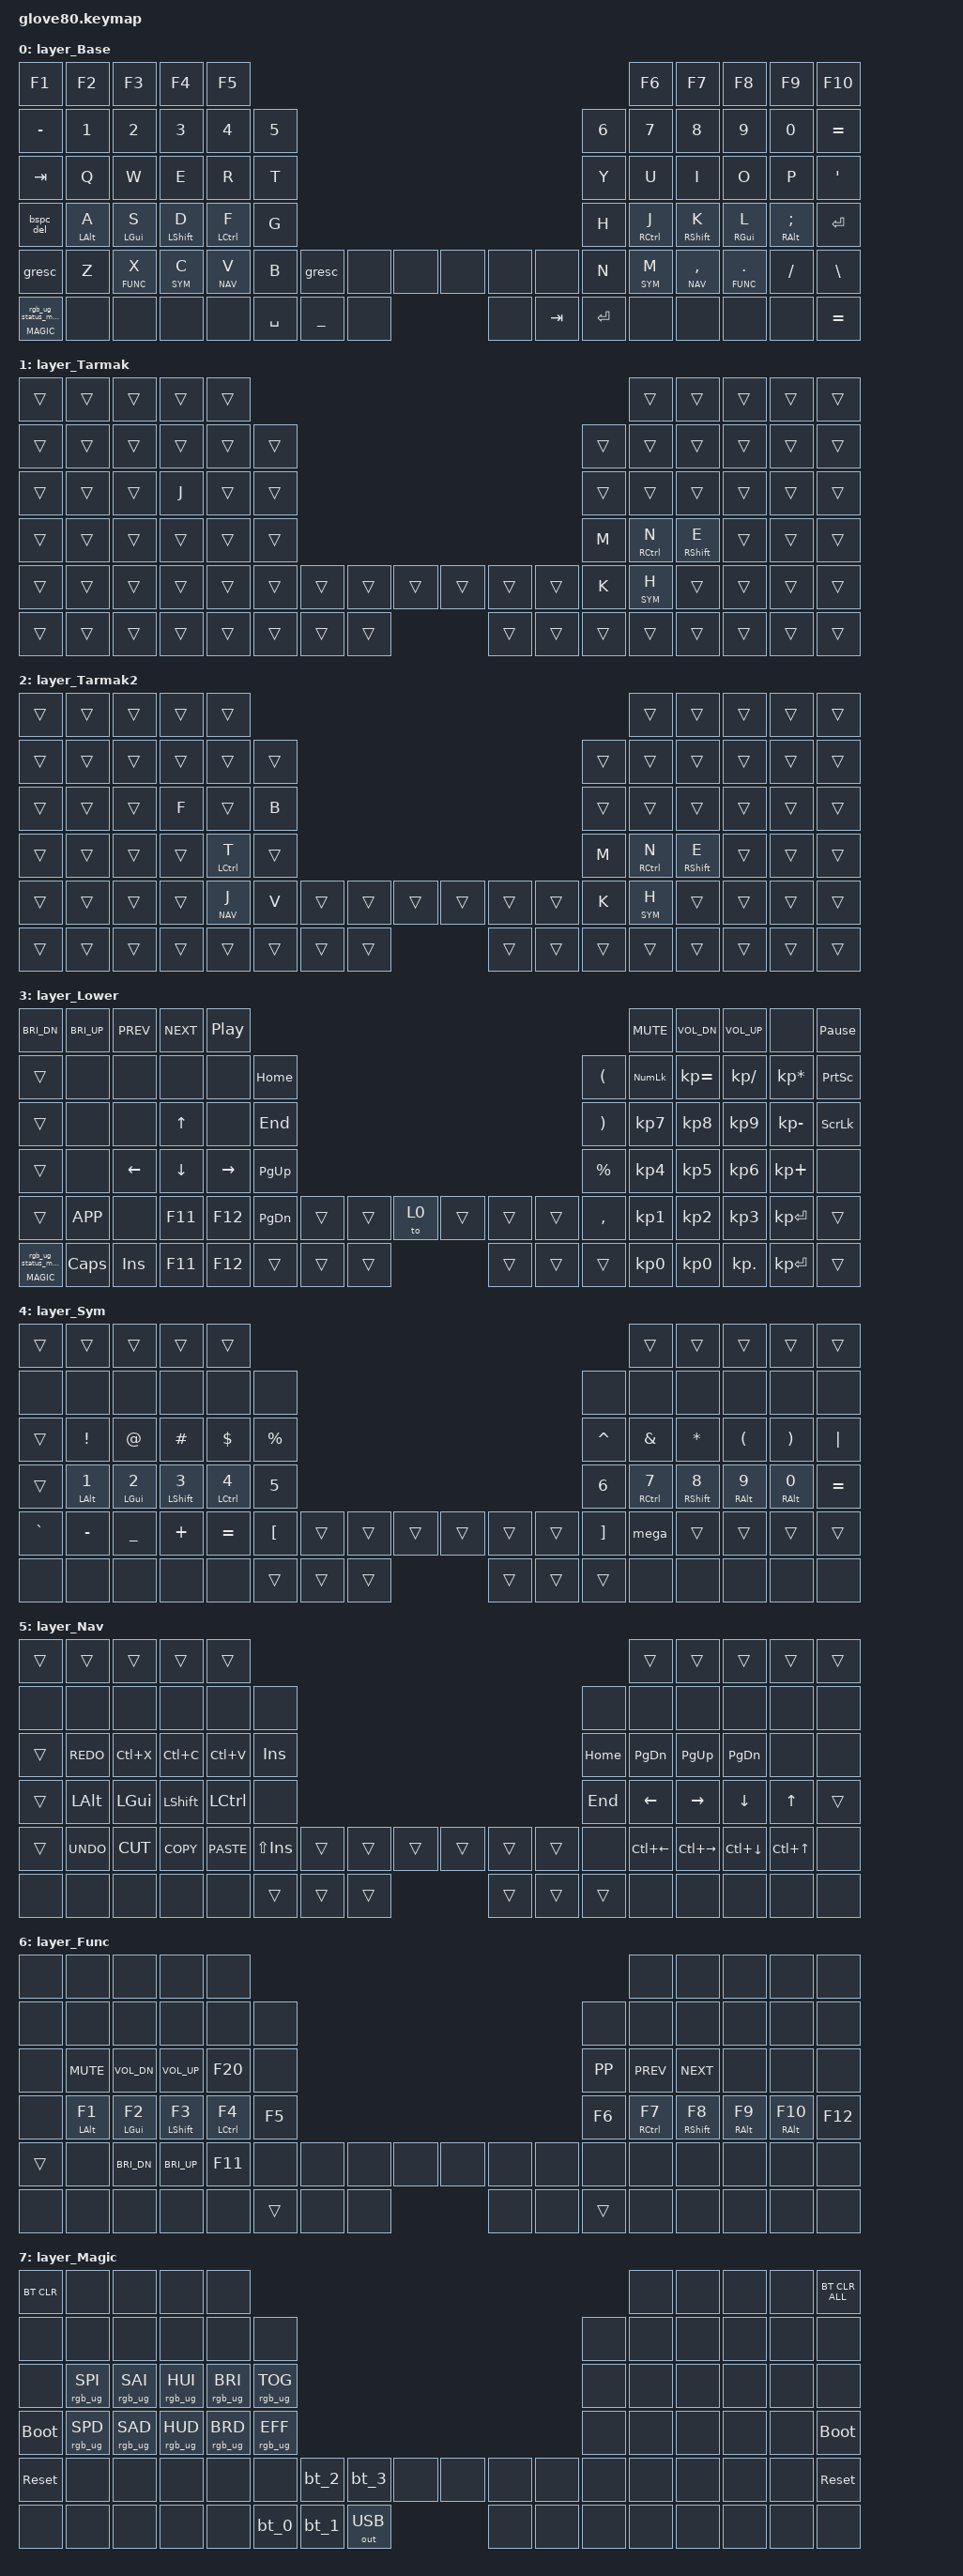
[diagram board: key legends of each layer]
/*
 * Copyright (c) 2020 The ZMK Contributors
 * Copyright (c) 2022 Innaworks Development Limited, trading as MoErgo
 *
 * SPDX-License-Identifier: MIT
 */


/* THIS FILE WAS GENERATED BY GLOVE80 LAYOUT EDITOR
 *
 * This file was generated automatically. You may or may not want to
 * edit it directly.
 */

#include <behaviors.dtsi>
/* Include all behaviour includes needed by system behaviors/macros */
#include <dt-bindings/zmk/outputs.h>

/* Include behaviour includes needed by key binds - automatically generated */
#include <dt-bindings/zmk/keys.h>
#include <dt-bindings/zmk/bt.h>
#include <dt-bindings/zmk/rgb.h>
#include <dt-bindings/zmk/outputs.h>
#include <dt-bindings/zmk/mouse.h>

#define KEYS_L 0 1 2 3 4  10 11 12 13 14 15  22 23 24 25 26 27  34 35 36 37 38 39  \
                          46 47 48 49 50 51  64 65 66 67 68
#define KEYS_R 5 6 7 8 9  16 17 18 19 20 21  28 29 30 31 32 33  40 41 42 43 44 45  \
                          58 59 60 61 62 63  75 76 77 78 79
#define THUMBS 52 53 54  55 56 57   69 70 71  72 73 74

#define QWERTY  0
#define TARMAK  1
#define TARMAK2 2
#define LOWER   3
#define SYM     4
#define NAV     5
#define FUNC    6
#define MAGIC   7

#define ALPHAS QWERTY TARMAK TARMAK2

&gresc {
    keep-mods = <(MOD_LSFT|MOD_RSFT)>;
};

/ {
    /*gresc: grave_escape {
        keep-mods = <(MOD_LSFT|MOD_RSFT)>;
    };*/

    /* Glove80 system behavior & macros */
    behaviors {
        // For the "layer" key, it'd nice to be able to use it as either a shift or a toggle.
        // Configure it as a tap dance, so the first tap (or hold) is a &mo and the second tap is a &to
        lower: tap_dance_0 {
            compatible = "zmk,behavior-tap-dance";
            label = "LAYER_TAP_DANCE";
            #binding-cells = <0>;
            tapping-term-ms = <200>;
            bindings = <&mo LOWER>, <&to LOWER>;
        };

	hml: homerow_mod_left {
	     compatible = "zmk,behavior-hold-tap";
	     label = "HRM_LEFT";
	     flavor = "balanced";
	     tapping-term-ms = <280>;
	     quick-tap-ms = <175>;
	     global-quick-tap;
	     #binding-cells = <2>;
	     bindings = <&kp>, <&kp>;
	     hold-trigger-key-positions = <KEYS_R THUMBS>;
	     hold-trigger-on-release;
	};

	hmr: homerow_mod_right {
	     compatible = "zmk,behavior-hold-tap";
	     label = "HRM_RIGHT";
	     flavor = "balanced";
	     tapping-term-ms = <280>;
	     quick-tap-ms = <175>;
	     global-quick-tap;
	     #binding-cells = <2>;
	     bindings = <&kp>, <&kp>;
	     hold-trigger-key-positions = <KEYS_L THUMBS>;
	     hold-trigger-on-release;
	};

	just_left: left_no_mods {
	      compatible = "zmk,behavior-mod-morph";
	      label = "JUST_LEFT";
	      #binding-cells = <0>;
	      bindings = <&kp LEFT>, <&kp LEFT>;
	      mods = <(MOD_LSFT|MOD_RSFT|MOD_LCTL|MOD_RCTL|MOD_LALT|MOD_RALT|MOD_LGUI|MOD_RGUI)>;
	      keep-mods = <0>;
	};
	mega: mega_pairs {
 	      compatible = "zmk,behavior-mod-morph";
	      label = "MEGA_PAIRS";
	      #binding-cells = <0>;
	      bindings = <&mega_abrq>, <&parens>;
	      mods = <(MOD_LALT|MOD_RALT)>;
	};
	mega_abrq: mega_abrq {
 	      compatible = "zmk,behavior-mod-morph";
	      label = "MEGA_ABRQ";
	      #binding-cells = <0>;
	      bindings = <&mega_brq>, <&abrackets>;
	      mods = <(MOD_LGUI|MOD_RGUI)>;
	};
	mega_brq: mega_brq {
 	      compatible = "zmk,behavior-mod-morph";
	      label = "MEGA_BRQ";
	      #binding-cells = <0>;
	      bindings = <&braces>, <&mega_quotes>;
	      mods = <(MOD_LCTL|MOD_RCTL)>;
	};
	mega_quotes: mega_quotes {
		 compatible = "zmk,behavior-mod-morph";
		 label = "MEGA_QUOTES";
		 #binding-cells = <0>;
		 bindings = <&dquotes>, <&squotes>;
		 mods = <(MOD_LSFT|MOD_RSFT)>;
	};
    };

    combos {
    	   compatible = "zmk,combos";
	   combo_capsword {
	   		  timeout-ms = <50>;
          		  key-positions = <25 37>;
           		  bindings = <&caps_word>;
			  layers = <ALPHAS>;
           };
	   combo_capsword2 {
	   		   timeout-ms = <50>;
          		   key-positions = <30 42>;
           		   bindings = <&caps_word>;
			   layers = <ALPHAS>;
           };
	   combo_home {
	   	      timeout-ms = <50>;
          	      key-positions = <38 39>;
           	      bindings = <&kp HOME>;
           };
	   combo_end {
	   	     timeout-ms = <50>;
          	     key-positions = <40 41>;
           	     bindings = <&kp END>;
           };
	   combo_mega {
	   		  timeout-ms = <50>;
          		  key-positions = <58 59>;
           		  bindings = <&mega>;
			  layers = <ALPHAS>;
           };
    };

    macros {
        rgb_ug_status_macro: rgb_ug_status_macro_0 {
            label = "RGB_UG_STATUS";
            compatible = "zmk,behavior-macro";
            #binding-cells = <0>;
            bindings
                = <&rgb_ug RGB_STATUS>;
        };

        bt_0: bt_profile_macro_0 {
            label = "BT_0";
            compatible = "zmk,behavior-macro";
            #binding-cells = <0>;
            bindings
                = <&out OUT_BLE>,
                  <&bt BT_SEL 0>;
        };

        bt_1: bt_profile_macro_1 {
            label = "BT_1";
            compatible = "zmk,behavior-macro";
            #binding-cells = <0>;
            bindings
                = <&out OUT_BLE>,
                  <&bt BT_SEL 1>;
        };

        bt_2: bt_profile_macro_2 {
            label = "BT_2";
            compatible = "zmk,behavior-macro";
            #binding-cells = <0>;
            bindings
                = <&out OUT_BLE>,
                  <&bt BT_SEL 2>;
        };

        bt_3: bt_profile_macro_3 {
            label = "BT_3";
            compatible = "zmk,behavior-macro";
            #binding-cells = <0>;
            bindings
                = <&out OUT_BLE>,
                  <&bt BT_SEL 3>;
        };

     	mb1:mouse_button1 {
	    label = "MB1";
	    compatible = "zmk,behavior-macro";
	    #binding-cells = <0>;
	    bindings = <&macro_press &kp F21>, <&macro_pause_for_release>, <&macro_release &kp F21>;
	};
	mb2:mouse_button2 {
	    label = "MB2";
	    compatible = "zmk,behavior-macro";
	    #binding-cells = <0>;
	    bindings = <&macro_press &kp F22>, <&macro_pause_for_release>, <&macro_release &kp F22>;
	};
	mb3:mouse_button3 {
            label = "MB3";
	    compatible = "zmk,behavior-macro";
	    #binding-cells = <0>;
	    bindings = <&macro_press &kp F23>, <&macro_pause_for_release>, <&macro_release &kp F23>;
	};

	pair: pair {
	      label = "PAIR";
	      compatible = "zmk,behavior-macro-two-param";
              #binding-cells = <2>; // Must be 2
	      bindings = <&macro_param_1to1>, <&kp MACRO_PLACEHOLDER>, <&macro_param_2to1>, <&kp MACRO_PLACEHOLDER>, <&just_left>;
	};

	braces: braces {
		label = "BRACES";
		compatible = "zmk,behavior-macro";
		#binding-cells = <0>;
		bindings = <&pair LBKT RBKT>;
	};
	squotes: single_quotes {
		 label = "SQUOTES";
		 compatible = "zmk,behavior-macro";
		 #binding-cells = <0>;
		 bindings = <&pair SQT SQT>;
	};
	dquotes: double_quotes {
		 label = "DQUOTES";
		 compatible = "zmk,behavior-macro";
		 #binding-cells = <0>;
		 bindings = <&pair DQT DQT>;
	};
	abrackets: angle_brackets {
		   label = "ABRACKETS";
		   compatible = "zmk,behavior-macro";
		   #binding-cells = <0>;
		   bindings = <&pair LT GT>;
	};
	parens: parens {
		label = "PARENS";
		compatible = "zmk,behavior-macro";
		#binding-cells = <0>;
		bindings = <&pair LPAR RPAR>;
	};
    };

    magic: magic_hold_tap {
        compatible = "zmk,behavior-hold-tap";
        label = "MAGIC_HOLD_TAP";
        #binding-cells = <2>;
        flavor = "tap-preferred";
        tapping-term-ms = <200>;
        bindings = <&mo>, <&rgb_ug_status_macro>;
    };

    bspc_del: backspace_delete {
            compatible = "zmk,behavior-mod-morph";
            label = "BACKSPACE_DELETE";
            #binding-cells = <0>;
            bindings = <&kp BACKSPACE>, <&kp DELETE>;
            mods = <(MOD_LGUI|MOD_RGUI)>;
        };

    /* Automatically generated keymap */
    keymap {
        compatible = "zmk,keymap";


        layer_Base {
            bindings = <
     &kp F1      &kp F2      &kp F3       &kp F4       &kp F5                                                                                       &kp F6       &kp F7      &kp F8         &kp F9    &kp F10
  &kp MINUS      &kp N1      &kp N2       &kp N3       &kp N4  &kp N5                                                                  &kp N6       &kp N7       &kp N8      &kp N9         &kp N0  &kp EQUAL
    &kp TAB       &kp Q       &kp W        &kp E        &kp R   &kp T                                                                   &kp Y        &kp U        &kp I       &kp O          &kp P    &kp SQT
  &bspc_del &hml LALT A &hml LGUI S &hml LSHFT D &hml LCTRL F   &kp G                                                                   &kp H &hmr RCTRL J &hmr RSHFT K &hmr RGUI L &hmr RALT SEMI    &kp RET
     &gresc       &kp Z  &lt FUNC X    &lt SYM C    &lt NAV V   &kp B    &gresc      &none   &none      &none       &none       &none   &kp N   &lt SYM M &lt NAV COMMA &lt FUNC DOT      &kp FSLH   &kp BSLH
&magic MAGIC 0    &none       &none        &none        &none         &kp SPACE  &kp UNDER   &none      &none     &kp TAB     &kp RET               &none         &none        &none         &none  &kp EQUAL
            >;
        };

        layer_Tarmak {
            bindings = <
     &trans      &trans      &trans      &trans      &trans                                                                                        &trans      &trans      &trans      &trans      &trans
     &trans      &trans      &trans      &trans      &trans      &trans                                                                &trans      &trans      &trans      &trans      &trans      &trans
     &trans      &trans      &trans       &kp J      &trans      &trans                                                                &trans      &trans      &trans      &trans      &trans      &trans
     &trans      &trans      &trans      &trans      &trans      &trans                                                                 &kp M &hmr RCTRL N &hmr RSHFT E    &trans      &trans      &trans
     &trans      &trans      &trans      &trans      &trans      &trans   &trans    &trans    &trans    &trans    &trans    &trans      &kp K   &lt SYM H      &trans      &trans      &trans      &trans
     &trans      &trans      &trans      &trans      &trans               &trans    &trans    &trans    &trans    &trans    &trans                 &trans      &trans      &trans      &trans      &trans
	    >;
        };

        layer_Tarmak2 {
            bindings = <
     &trans      &trans      &trans      &trans      &trans                                                                                        &trans      &trans      &trans      &trans      &trans
     &trans      &trans      &trans      &trans      &trans      &trans                                                                &trans      &trans      &trans      &trans      &trans      &trans
     &trans      &trans      &trans       &kp F      &trans       &kp B                                                                &trans      &trans      &trans      &trans      &trans      &trans
     &trans      &trans      &trans      &trans &hml LCTRL T     &trans                                                                 &kp M &hmr RCTRL N &hmr RSHFT E    &trans      &trans      &trans
     &trans      &trans      &trans      &trans   &lt NAV J       &kp V   &trans    &trans    &trans    &trans    &trans    &trans      &kp K   &lt SYM H      &trans      &trans      &trans      &trans
     &trans      &trans      &trans      &trans      &trans               &trans    &trans    &trans    &trans    &trans    &trans                 &trans      &trans      &trans      &trans      &trans
	    >;
        };

        layer_Lower {
            bindings = <
 &kp C_BRI_DN  &kp C_BRI_UP      &kp C_PREV      &kp C_NEXT         &kp C_PP                                                                                    &kp C_MUTE  &kp C_VOL_DN  &kp C_VOL_UP            &none  &kp PAUSE_BREAK
       &trans         &none           &none           &none            &none   &kp HOME                                                   &kp LEFT_PARENTHESIS  &kp KP_NUM  &kp KP_EQUAL  &kp KP_SLASH  &kp KP_MULTIPLY  &kp PRINTSCREEN
       &trans         &none           &none    &kp UP_ARROW            &none    &kp END                                                  &kp RIGHT_PARENTHESIS   &kp KP_N7     &kp KP_N8     &kp KP_N9     &kp KP_MINUS   &kp SCROLLLOCK
       &trans         &none  &kp LEFT_ARROW  &kp DOWN_ARROW  &kp RIGHT_ARROW  &kp PG_UP                                                            &kp PERCENT   &kp KP_N4     &kp KP_N5     &kp KP_N6      &kp KP_PLUS            &none
       &trans     &kp K_APP           &none         &kp F11          &kp F12  &kp PG_DN  &trans  &trans   &to 0  &trans  &trans  &trans              &kp COMMA   &kp KP_N1     &kp KP_N2     &kp KP_N3     &kp KP_ENTER           &trans
   &magic MAGIC 0      &kp CAPS         &kp INS         &kp F11          &kp F12             &trans  &trans  &trans  &trans  &trans  &trans                          &kp KP_N0     &kp KP_N0    &kp KP_DOT     &kp KP_ENTER           &trans
            >;
        };

	layer_Sym {
	    bindings = <
	  &trans         &trans         &trans         &trans         &trans                                                                              &trans         &trans       &trans    &trans      &trans
       &none          &none          &none          &none          &none        &none                                                   &none          &none          &none        &none     &none       &none
      &trans       &kp EXCL         &kp AT       &kp HASH       &kp DLLR    &kp PRCNT                                               &kp CARET       &kp AMPS       &kp STAR     &kp LPAR  &kp RPAR    &kp PIPE
      &trans     &hml LALT N1 &hml LGUI N2  &hml LSHFT N3  &hml LCTRL N4       &kp N5                                                  &kp N6  &hmr RCTRL N7  &hmr RSHFT N8 &hmr RALT N9 &hmr RALT N0 &kp EQUAL
   &kp GRAVE      &kp MINUS      &kp UNDER       &kp PLUS      &kp EQUAL     &kp LBKT   &trans  &trans  &trans  &trans  &trans  &trans &kp RBKT        &mega         &trans       &trans    &trans      &trans
       &none          &none          &none          &none          &none                &trans  &trans  &trans  &trans  &trans  &trans                 &none          &none        &none     &none       &none
       >;
};

    layer_Nav {
	    bindings = <
      &trans         &trans         &trans         &trans         &trans                                                                           &trans    &trans    &trans  &trans        &trans
       &none          &none          &none          &none          &none            &none                                              &none        &none     &none     &none   &none         &none
      &trans     &kp K_REDO      &kp LC(X)      &kp LC(C)      &kp LC(V)          &kp INS                                           &kp HOME    &kp PG_DN &kp PG_UP &kp PG_DN   &none         &none
      &trans       &kp LALT       &kp LGUI      &kp LSHFT      &kp LCTRL            &none                                            &kp END     &kp LEFT &kp RIGHT  &kp DOWN  &kp UP        &trans
      &trans     &kp K_UNDO      &kp K_CUT     &kp K_COPY    &kp K_PASTE &kp LS(INS) &trans &trans  &trans  &trans  &trans  &trans  &none &kp LC(LEFT) &kp LC(RIGHT) &kp LC(DOWN) &kp LC(UP)  &none
       &none          &none          &none          &none          &none             &trans &trans  &trans  &trans  &trans  &trans                  &none     &none     &none   &none         &none
       >;
};

        layer_Func {
            bindings = <
      &none       &none        &none       &none       &none                                                                                         &none       &none       &none       &none       &none
      &none       &none        &none       &none       &none       &none                                                                 &none       &none       &none       &none       &none       &none
      &none  &kp K_MUTE &kp K_VOL_DN &kp K_VOL_UP    &kp F20       &none                                                              &kp K_PP  &kp K_PREV  &kp K_NEXT       &none       &none       &none
     &none &hml LALT F1 &hml LGUI F2 &hml LSHFT F3 &hml LCTL F4   &kp F5                                                              &kp F6 &hmr RCTRL F7 &hmr RSHFT F8 &hmr RALT F9 &hmr RALT F10  &kp F12
     &trans       &none &kp C_BRI_DN &kp C_BRI_UP    &kp F11       &none    &none     &none     &none     &none     &none     &none      &none       &none       &none       &none       &none       &none
      &none       &none        &none       &none       &none               &trans     &none     &none     &none     &none    &trans                  &none       &none       &none       &none       &none
	    >;
        };

         layer_Magic {
            bindings = <
  &bt BT_CLR            &none            &none            &none            &none                                                                                  &none   &none   &none   &none  &bt BT_CLR_ALL
       &none            &none            &none            &none            &none            &none                                                         &none   &none   &none   &none   &none           &none
       &none  &rgb_ug RGB_SPI  &rgb_ug RGB_SAI  &rgb_ug RGB_HUI  &rgb_ug RGB_BRI  &rgb_ug RGB_TOG                                                         &none   &none   &none   &none   &none           &none
 &bootloader  &rgb_ug RGB_SPD  &rgb_ug RGB_SAD  &rgb_ug RGB_HUD  &rgb_ug RGB_BRD  &rgb_ug RGB_EFF                                                         &none   &none   &none   &none   &none     &bootloader
  &sys_reset            &none            &none            &none            &none            &none   &bt_2   &bt_3         &none   &none   &none   &none   &none   &none   &none   &none   &none      &sys_reset
       &none            &none            &none            &none            &none                    &bt_0   &bt_1  &out OUT_USB   &none   &none   &none           &none   &none   &none   &none           &none
            >;
        };


    };
};
